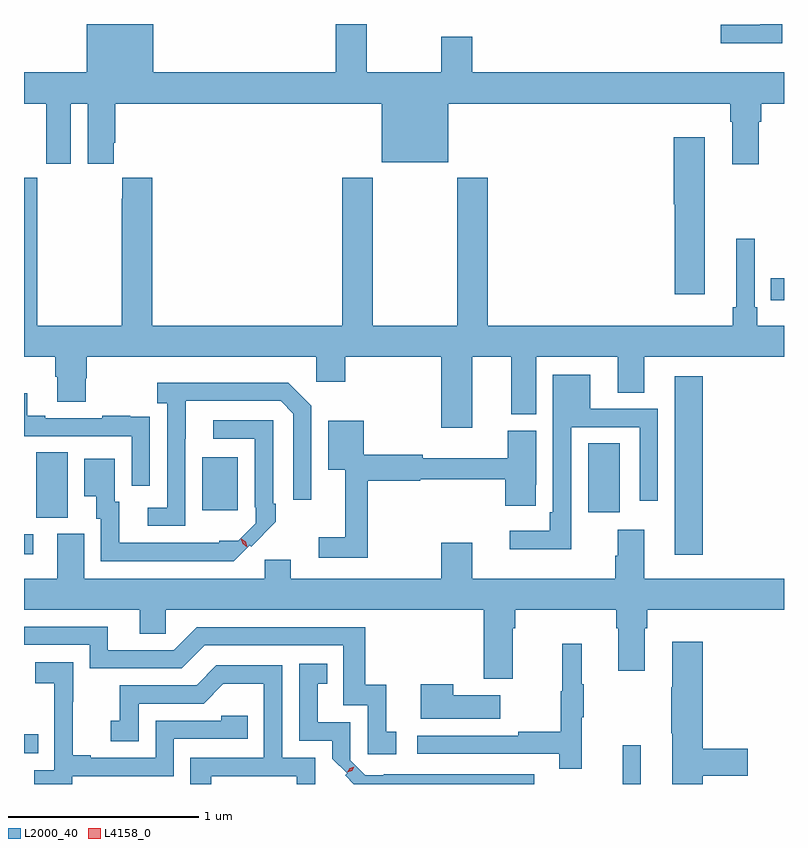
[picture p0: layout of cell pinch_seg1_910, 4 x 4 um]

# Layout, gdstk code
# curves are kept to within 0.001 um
import gdstk
lib = gdstk.Library(unit=1e-6, precision=1e-09)
def R(c, l, rs):  # rectangles x0, y0, x1, y1
    for r in rs: c.add(gdstk.rectangle(r[:2], r[2:], *l))
def P(c, l, *ps):  # polygons
    for p in ps: c.add(gdstk.Polygon(p, *l))
L2000_40 = (2000, 40)
L4158_0 = (4158, 0)

pinch_seg1_910 = lib.new_cell('pinch_seg1_910')
R(pinch_seg1_910, L2000_40, [(129.999,520.179,130.096,520.384), (126.849,520.341,126.923,520.442), (130.274,521.385,130.421,522.325), (126.849,521.388,126.898,521.493), (126.914,521.581,127.078,521.924), (129.818,521.61,129.985,521.972), (127.787,521.621,127.975,521.899), (130.78,522.726,130.849,522.842)])
P(pinch_seg1_910, L2000_40, [(130.839,524.179),(130.723,524.179),(130.723,524.176),(130.515,524.176),(130.515,524.078),(130.839,524.078)],
  [(130.717,523.664),(130.73,523.664),(130.73,523.76),(130.849,523.76),(130.849,523.924),(129.208,523.924),(129.208,524.113),(129.044,524.113),(129.044,523.924),(128.653,523.924),(128.653,524.179),(128.489,524.179),(128.489,523.924),(127.528,523.924),(127.528,524.179),(127.178,524.179),(127.178,523.924),(126.849,523.924),(126.849,523.76),(126.965,523.76),(126.965,523.443),(127.096,523.443),(127.096,523.76),(127.184,523.76),(127.184,523.443),(127.321,523.443),(127.321,523.555),(127.328,523.555),(127.328,523.76),(128.732,523.76),(128.732,523.451),(129.082,523.451),(129.082,523.76),(130.565,523.76),(130.565,523.664),(130.577,523.664),(130.577,523.44),(130.717,523.44)],
  [(130.432,523.582),(130.268,523.582),(130.268,523.23),(130.274,523.23),(130.274,522.756),(130.432,522.756)],
  [(129.208,522.428),(129.413,522.428),(129.413,522.124),(129.544,522.124),(129.544,522.428),(129.974,522.428),(129.974,522.238),(130.114,522.238),(130.114,522.428),(130.849,522.428),(130.849,522.592),(130.709,522.592),(130.709,522.688),(130.695,522.688),(130.695,523.048),(130.598,523.048),(130.598,522.688),(130.579,522.688),(130.579,522.592),(129.29,522.592),(129.29,523.371),(129.13,523.371),(129.13,522.592),(128.685,522.592),(128.685,523.371),(128.525,523.371),(128.525,522.592),(127.523,522.592),(127.523,523.371),(127.367,523.371),(127.367,523.259),(127.363,523.259),(127.363,522.592),(126.918,522.592),(126.918,523.371),(126.849,523.371),(126.849,522.428),(127.013,522.428),(127.013,522.322),(127.025,522.322),(127.025,522.19),(127.173,522.19),(127.173,522.315),(127.178,522.315),(127.178,522.428),(128.388,522.428),(128.388,522.297),(128.54,522.297),(128.54,522.428),(129.044,522.428),(129.044,522.054),(129.208,522.054)],
  [(129.729,522.057),(130.089,522.057),(130.089,521.67),(130.185,521.67),(130.185,522.153),(129.829,522.153),(129.829,522.334),(129.633,522.334),(129.633,521.608),(129.617,521.608),(129.617,521.512),(129.405,521.512),(129.405,521.414),(129.729,521.414)],
  [(127.698,521.995),(127.699,522.195),(128.199,522.195),(128.265,522.129),(128.265,521.676),(128.361,521.676),(128.361,522.171),(128.24,522.292),(127.551,522.292),(127.551,522.182),(127.602,522.182),(127.602,521.634),(127.5,521.634),(127.5,521.538),(127.698,521.538)],
  [(127.512,522.002),(127.511,522.002),(127.511,522.111),(127.409,522.111),(127.409,522.118),(127.261,522.118),(127.261,522.105),(126.961,522.105),(126.961,522.118),(126.865,522.118),(126.865,522.235),(126.849,522.235),(126.849,522.009),(127.416,522.009),(127.416,521.748),(127.512,521.748)],
  [(128.038,521.436),(128.044,521.429),(128.173,521.558),(128.173,521.655),(128.16,521.655),(128.16,522.093),(127.845,522.093),(127.845,521.997),(128.064,521.997),(128.064,521.636),(128.07,521.636),(128.07,521.551),(127.977,521.458),(127.876,521.458),(127.876,521.448),(127.351,521.448),(127.351,521.664),(127.327,521.664),(127.327,521.89),(127.166,521.89),(127.166,521.693),(127.229,521.693),(127.229,521.574),(127.254,521.574),(127.254,521.352),(127.954,521.352)],
  [(128.657,521.776),(128.934,521.776),(128.934,521.784),(129.383,521.784),(129.383,521.643),(129.543,521.643),(129.543,521.755),(129.544,521.755),(129.544,522.039),(129.395,522.039),(129.395,521.893),(128.948,521.893),(128.948,521.912),(128.637,521.912),(128.637,522.091),(128.45,522.091),(128.45,521.834),(128.54,521.834),(128.54,521.479),(128.4,521.479),(128.4,521.37),(128.657,521.37)],
  [(129.421,521),(129.434,521),(129.434,521.096),(129.965,521.096),(129.965,521),(129.977,521),(129.977,520.776),(130.117,520.776),(130.117,521),(130.13,521),(130.13,521.096),(130.849,521.096),(130.849,521.26),(130.114,521.26),(130.114,521.518),(129.974,521.518),(129.974,521.381),(129.962,521.381),(129.962,521.26),(129.208,521.26),(129.208,521.449),(129.044,521.449),(129.044,521.26),(128.254,521.26),(128.254,521.358),(128.115,521.358),(128.115,521.26),(127.165,521.26),(127.165,521.496),(127.025,521.496),(127.025,521.26),(126.849,521.26),(126.849,521.096),(127.457,521.096),(127.457,520.969),(127.596,520.969),(127.596,521.096),(129.269,521.096),(129.269,520.734),(129.421,520.734)],
  [(128.809,520.455),(128.756,520.455),(128.756,520.702),(128.645,520.702),(128.645,521.004),(127.758,521.004),(127.638,520.884),(127.291,520.884),(127.291,521.007),(126.849,521.007),(126.849,520.911),(127.194,520.911),(127.194,520.788),(127.68,520.788),(127.8,520.908),(128.529,520.908),(128.529,520.593),(128.658,520.593),(128.658,520.335),(128.809,520.335)],
  [(130.421,520.222),(130.657,520.222),(130.657,520.364),(130.421,520.364),(130.421,520.927),(130.262,520.927),(130.262,520.688),(130.255,520.688),(130.255,520.447),(130.262,520.447),(130.262,520.179),(130.421,520.179)],
  [(129.785,520.531),(129.796,520.531),(129.796,520.705),(129.785,520.705),(129.785,520.918),(129.682,520.918),(129.682,520.668),(129.675,520.668),(129.675,520.454),(129.451,520.454),(129.451,520.434),(128.919,520.434),(128.919,520.338),(129.667,520.338),(129.667,520.26),(129.785,520.26)],
  [(127.104,520.221),(127.638,520.221),(127.638,520.416),(128.027,520.416),(128.027,520.539),(127.887,520.539),(127.887,520.512),(127.542,520.512),(127.542,520.317),(127.201,520.317),(127.201,520.33),(127.106,520.33),(127.106,520.613),(127.107,520.613),(127.107,520.819),(126.909,520.819),(126.909,520.709),(127.007,520.709),(127.007,520.481),(127.008,520.481),(127.008,520.251),(126.903,520.251),(126.903,520.179),(127.104,520.179)],
  [(129.534,520.23),(128.743,520.23),(128.743,520.224),(128.646,520.224),(128.565,520.305),(128.565,520.503),(128.395,520.503),(128.395,520.707),(128.444,520.707),(128.444,520.813),(128.298,520.813),(128.298,520.407),(128.472,520.407),(128.472,520.312),(128.549,520.235),(128.539,520.225),(128.585,520.179),(129.534,520.179)],
  [(127.834,520.221),(128.285,520.221),(128.285,520.179),(128.382,520.179),(128.382,520.317),(128.208,520.317),(128.208,520.803),(127.862,520.803),(127.757,520.698),(127.354,520.698),(127.354,520.513),(127.305,520.513),(127.305,520.404),(127.452,520.404),(127.452,520.602),(127.794,520.602),(127.898,520.706),(128.112,520.706),(128.112,520.317),(127.723,520.317),(127.723,520.179),(127.834,520.179)],
  [(129.355,520.645),(129.107,520.645),(129.107,520.705),(128.936,520.705),(128.936,520.523),(129.355,520.523)])
P(pinch_seg1_910, L4158_0, [(128.025,521.426),(128,521.443),(127.99,521.472),(127.99,521.473),(127.991,521.473),(128.016,521.455),(128.025,521.426),(128.025,521.426)],
  [(128.551,520.24),(128.551,520.24),(128.563,520.263),(128.587,520.271),(128.587,520.271),(128.587,520.271),(128.576,520.248),(128.551,520.24)])

lib.write_gds('pinch_seg1_910.gds')
